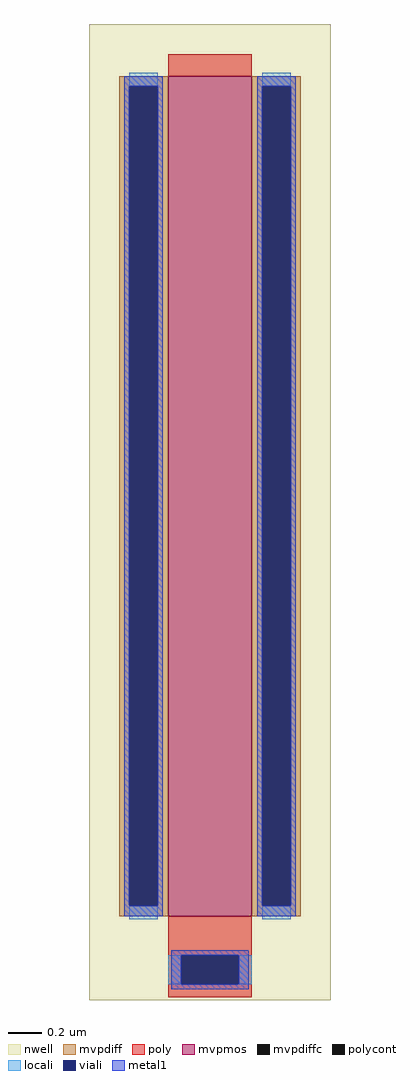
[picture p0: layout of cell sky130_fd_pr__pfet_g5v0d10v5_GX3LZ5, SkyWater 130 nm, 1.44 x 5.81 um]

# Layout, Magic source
magic
tech sky130A
magscale 1 2
<< nwell >>
rect -144 -564 144 598
<< mvpmos >>
rect -50 -464 50 536
<< mvpdiff >>
rect -108 524 -50 536
rect -108 -452 -96 524
rect -62 -452 -50 524
rect -108 -464 -50 -452
rect 50 524 108 536
rect 50 -452 62 524
rect 96 -452 108 524
rect 50 -464 108 -452
<< mvpdiffc >>
rect -96 -452 -62 524
rect 62 -452 96 524
<< poly >>
rect -50 536 50 562
rect -50 -511 50 -464
rect -50 -545 -34 -511
rect 34 -545 50 -511
rect -50 -561 50 -545
<< polycont >>
rect -34 -545 34 -511
<< locali >>
rect -96 524 -62 540
rect -96 -468 -62 -452
rect 62 524 96 540
rect 62 -468 96 -452
rect -50 -545 -34 -511
rect 34 -545 50 -511
<< viali >>
rect -96 -452 -62 524
rect 62 -452 96 524
rect -34 -545 34 -511
<< metal1 >>
rect -102 524 -56 536
rect -102 -452 -96 524
rect -62 -452 -56 524
rect -102 -464 -56 -452
rect 56 524 102 536
rect 56 -452 62 524
rect 96 -452 102 524
rect 56 -464 102 -452
rect -46 -511 46 -505
rect -46 -545 -34 -511
rect 34 -545 46 -511
rect -46 -551 46 -545
<< properties >>
string gencell sky130_fd_pr__pfet_g5v0d10v5
string library sky130
string parameters w 5 l 0.5 m 1 nf 1 diffcov 100 polycov 100 guard 0 glc 1 grc 1 gtc 1 gbc 1 tbcov 100 rlcov 100 topc 0 botc 1 poverlap 0 doverlap 1 lmin 0.50 wmin 0.42 compatible {sky130_fd_pr__pfet_01v8  sky130_fd_pr__pfet_01v8_lvt sky130_fd_pr__pfet_01v8_hvt  sky130_fd_pr__pfet_g5v0d10v5} full_metal 1 viasrc 100 viadrn 100 viagate 100 viagb 0 viagr 0 viagl 0 viagt 0
<< end >>
